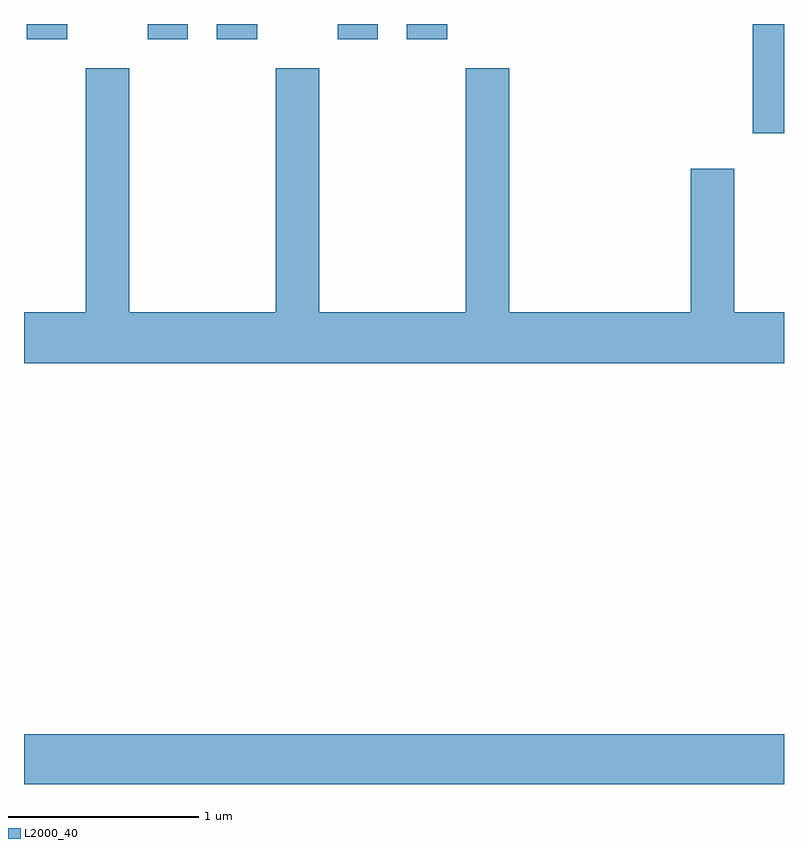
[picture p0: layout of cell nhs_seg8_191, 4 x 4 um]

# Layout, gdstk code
import gdstk
lib = gdstk.Library(unit=1e-6, precision=1e-09)
def R(c, l, rs):  # rectangles x0, y0, x1, y1
    for r in rs: c.add(gdstk.rectangle(r[:2], r[2:], *l))
def P(c, l, *ps):  # polygons
    for p in ps: c.add(gdstk.Polygon(p, *l))
L2000_40 = (2000, 40)

nhs_seg8_191 = lib.new_cell('nhs_seg8_191')
R(nhs_seg8_191, L2000_40, [(189.611,1916.342,193.611,1916.604), (193.446,1919.766,193.611,1920.342), (189.626,1920.261,189.839,1920.342), (190.261,1920.261,190.474,1920.342), (190.626,1920.261,190.839,1920.342), (191.261,1920.261,191.474,1920.342), (191.626,1920.261,191.839,1920.342)])
P(nhs_seg8_191, L2000_40, [(193.611,1918.824),(193.349,1918.824),(193.349,1919.579),(193.121,1919.579),(193.121,1918.824),(192.164,1918.824),(192.164,1920.109),(191.936,1920.109),(191.936,1918.824),(191.164,1918.824),(191.164,1920.109),(190.936,1920.109),(190.936,1918.824),(190.164,1918.824),(190.164,1920.109),(189.936,1920.109),(189.936,1918.824),(189.611,1918.824),(189.611,1918.556),(193.611,1918.556)])

lib.write_gds('nhs_seg8_191.gds')
